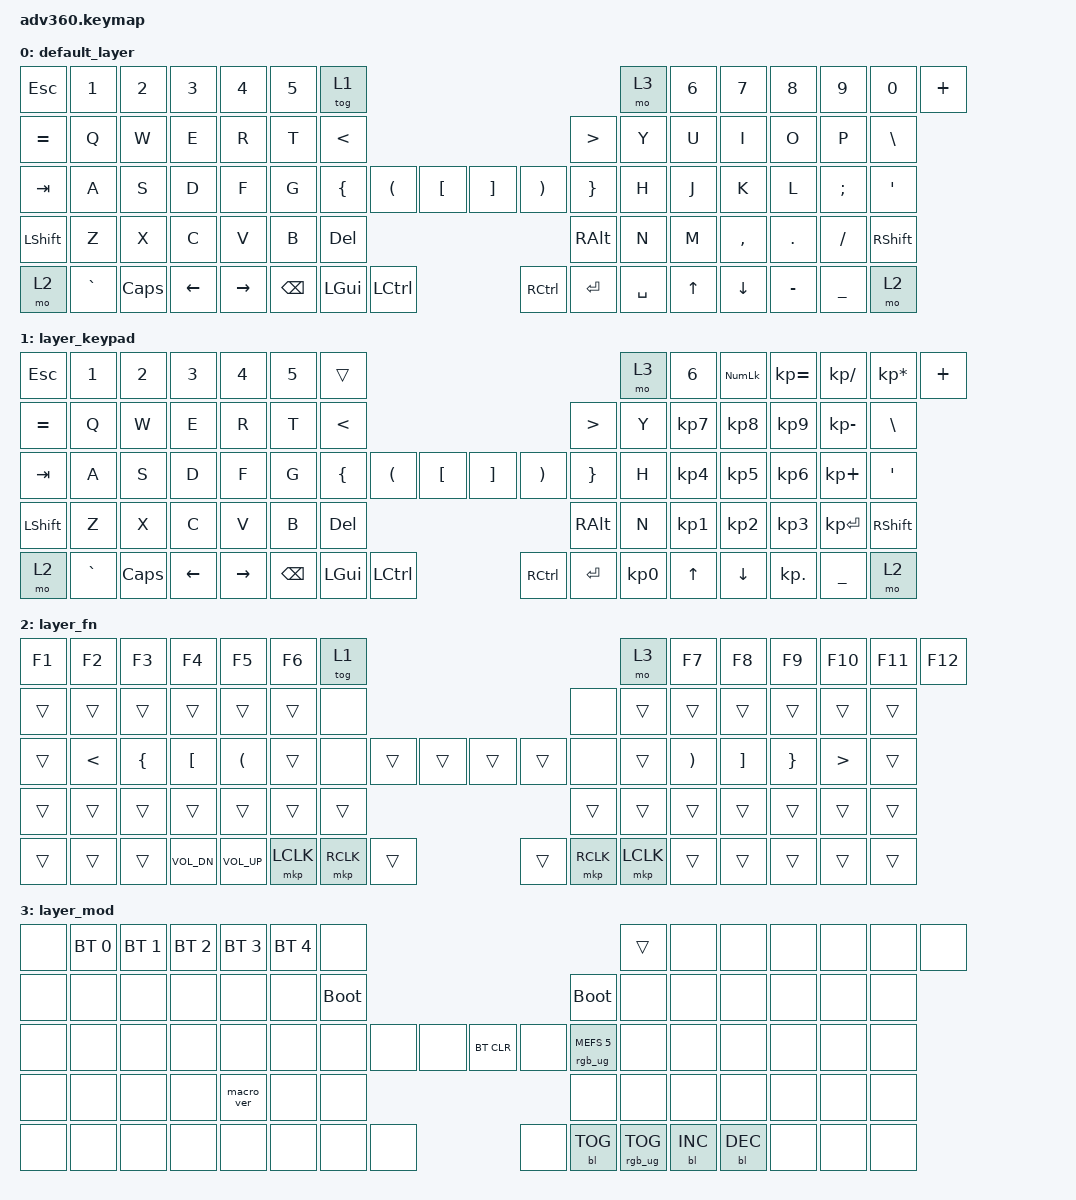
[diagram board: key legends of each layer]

/*
 * Copyright (c) 2020 The ZMK Contributors
 *
 * SPDX-License-Identifier: MIT
 */


/* THIS FILE WAS GENERATED!
 *
 * This file was generated automatically. You may or may not want to
 * edit it directly.
 */

#include <behaviors.dtsi>
#include <dt-bindings/zmk/keys.h>
#include <dt-bindings/zmk/bt.h>
#include <dt-bindings/zmk/rgb.h>
#include <dt-bindings/zmk/backlight.h>
#include <dt-bindings/zmk/mouse.h>

/ {
  behaviors {
    #include "macros.dtsi"
    #include "version.dtsi"

    hm: homerow_mods {
        compatible = "zmk,behavior-hold-tap";
        label = "HOMEROW_MODS";
        #binding-cells = <2>;
        tapping-term-ms = <200>;
        quick_tap_ms = <175>;
        flavor = "tap-preferred";
        bindings = <&kp>, <&kp>;
    };
  };

    keymap {
        compatible = "zmk,keymap";


        default_layer {
            bindings = <
   &kp ESC     &kp N1    &kp N2    &kp N3     &kp N4  &kp N5                   &tog 1                                                                     &mo 3  &kp N6  &kp N7     &kp N8     &kp N9     &kp N0   &kp PLUS
   &kp EQUAL      &kp Q     &kp W     &kp E      &kp R   &kp T            &kp LESS_THAN                                                                    &kp GT   &kp Y   &kp U      &kp I      &kp O      &kp P   &kp BSLH
 &kp TAB      &kp A     &kp S     &kp D      &kp F   &kp G                 &kp LBRC      &kp LPAR   &kp LBKT                   &kp RBKT   &kp RPAR   &kp RBRC   &kp H   &kp J      &kp K      &kp L   &kp SEMI    &kp SQT
 &kp LSHFT      &kp Z     &kp X     &kp C      &kp V   &kp B                                           &kp DEL                   &kp RALT                         &kp N   &kp M  &kp COMMA    &kp DOT   &kp FSLH  &kp RSHFT
     &mo 2  &kp GRAVE  &kp CAPS  &kp LEFT  &kp RIGHT                         &kp BSPC  &kp LEFT_GUI  &kp LCTRL                  &kp RCTRL  &kp ENTER  &kp SPACE          &kp UP   &kp DOWN  &kp MINUS  &kp UNDER      &mo 2
            >;
        };

        layer_keypad {
            bindings = <
 &kp ESC     &kp N1    &kp N2    &kp N3     &kp N4  &kp N5              &trans                                                                     &mo 3  &kp N6  &kp KP_NUM  &kp KP_EQUAL  &kp KP_DIVIDE  &kp KP_MULTIPLY   &kp PLUS
   &kp EQUAL      &kp Q     &kp W     &kp E      &kp R   &kp T              &kp LT                                                                    &kp GT   &kp Y   &kp KP_N7     &kp KP_N8      &kp KP_N9     &kp KP_MINUS   &kp BSLH
   &kp TAB      &kp A     &kp S     &kp D      &kp F   &kp G            &kp LBRC      &kp LPAR   &kp LBKT                   &kp RBKT   &kp RPAR   &kp RBRC   &kp H   &kp KP_N4     &kp KP_N5      &kp KP_N6      &kp KP_PLUS    &kp SQT
 &kp LSHFT      &kp Z     &kp X     &kp C      &kp V   &kp B                                      &kp DEL                   &kp RALT                         &kp N   &kp KP_N1     &kp KP_N2      &kp KP_N3     &kp KP_ENTER  &kp RSHFT
     &mo 2  &kp GRAVE  &kp CAPS  &kp LEFT  &kp RIGHT                    &kp BSPC  &kp LEFT_GUI  &kp LCTRL                  &kp RCTRL  &kp ENTER  &kp KP_N0              &kp UP      &kp DOWN     &kp KP_DOT        &kp UNDER      &mo 2
            >;
        };

        layer_fn {
            bindings = <
 &kp F1  &kp F2    &kp F3    &kp F4    &kp F5  &kp F6                  &tog 1                                                                     &mo 3  &kp F7    &kp F8    &kp F9   &kp F10  &kp F11  &kp F12
 &trans  &trans    &trans    &trans    &trans  &trans                   &none                                                                     &none  &trans    &trans    &trans    &trans   &trans   &trans
 &trans  &kp LT  &kp LBRC  &kp LBKT  &kp LPAR  &trans                   &none        &trans  &trans                  &trans        &trans         &none  &trans  &kp RPAR  &kp RBKT  &kp RBRC   &kp GT   &trans
 &trans  &trans    &trans    &trans    &trans  &trans                                        &trans                  &trans                              &trans    &trans    &trans    &trans   &trans   &trans
 &trans  &trans    &trans  &kp C_VOL_DN   &kp C_VOL_UP                  &mkp LCLK &mkp RCLK  &trans                  &trans  &mkp RCLK &mkp LCLK            &trans    &trans    &trans   &trans   &trans
            >;
        };

        layer_mod {
            bindings = <
  &none  &bt BT_SEL 0  &bt BT_SEL 1  &bt BT_SEL 2  &bt BT_SEL 3  &bt BT_SEL 4                  &none                                                                          &trans   &none       &none       &none   &none   &none   &none
  &none         &none         &none         &none         &none         &none            &bootloader                                                                     &bootloader   &none       &none       &none   &none   &none   &none
  &none         &none         &none         &none         &none         &none                  &none   &none   &none                  &bt BT_CLR       &none  &rgb_ug RGB_MEFS_CMD 5   &none       &none       &none   &none   &none   &none
  &none         &none         &none         &none    &macro_ver         &none                                  &none                       &none                                       &none       &none       &none   &none   &none   &none
  &none         &none         &none         &none         &none                                &none   &none   &none                       &none  &bl BL_TOG         &rgb_ug RGB_TOG          &bl BL_INC  &bl BL_DEC   &none   &none   &none
            >;
        };

    };
};
